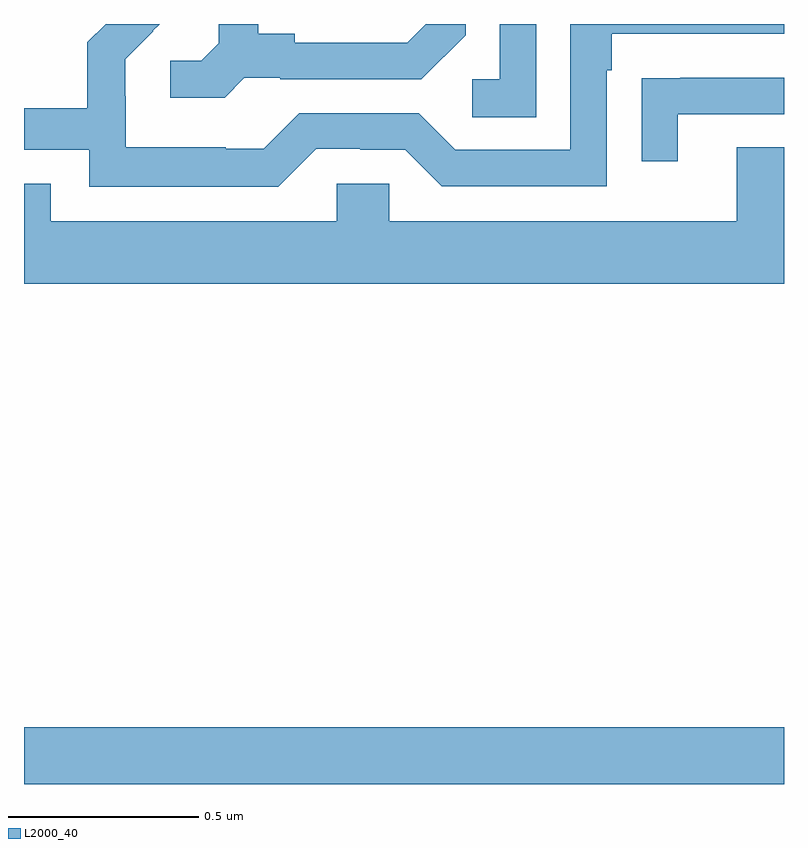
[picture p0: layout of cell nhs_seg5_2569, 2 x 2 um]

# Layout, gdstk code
import gdstk
lib = gdstk.Library(unit=1e-6, precision=1e-09)
def R(c, l, rs):  # rectangles x0, y0, x1, y1
    for r in rs: c.add(gdstk.rectangle(r[:2], r[2:], *l))
def P(c, l, *ps):  # polygons
    for p in ps: c.add(gdstk.Polygon(p, *l))
L2000_40 = (2000, 40)

nhs_seg5_2569 = lib.new_cell('nhs_seg5_2569')
R(nhs_seg5_2569, L2000_40, [(146,832.799,148,832.948)])
P(nhs_seg5_2569, L2000_40, [(146.58,834.657),(146.674,834.657),(146.674,834.654),(147.046,834.654),(147.162,834.77),(147.162,834.799),(147.057,834.799),(147.008,834.75),(146.713,834.75),(146.713,834.773),(146.617,834.773),(146.617,834.799),(146.513,834.799),(146.513,834.749),(146.466,834.702),(146.385,834.702),(146.385,834.605),(146.528,834.605)],
  [(146.769,834.471),(146.885,834.471),(146.885,834.468),(147.003,834.468),(147.099,834.372),(147.534,834.372),(147.534,834.677),(147.547,834.677),(147.547,834.774),(148,834.774),(148,834.799),(147.438,834.799),(147.438,834.468),(147.135,834.468),(147.039,834.564),(146.724,834.564),(146.631,834.471),(146.531,834.471),(146.531,834.475),(146.268,834.475),(146.268,834.609),(146.266,834.609),(146.266,834.706),(146.34,834.78),(146.339,834.781),(146.357,834.799),(146.215,834.799),(146.167,834.751),(146.167,834.577),(146,834.577),(146,834.468),(146.172,834.468),(146.172,834.371),(146.669,834.371)],
  [(147.348,834.799),(147.252,834.799),(147.252,834.654),(147.18,834.654),(147.18,834.553),(147.348,834.553)],
  [(147.721,834.561),(148,834.561),(148,834.657),(147.727,834.657),(147.727,834.656),(147.625,834.656),(147.625,834.438),(147.721,834.438)],
  [(148,834.475),(147.875,834.475),(147.875,834.28),(146.961,834.28),(146.961,834.378),(146.823,834.378),(146.823,834.28),(146.071,834.28),(146.071,834.379),(146,834.379),(146,834.116),(148,834.116)])

lib.write_gds('nhs_seg5_2569.gds')
